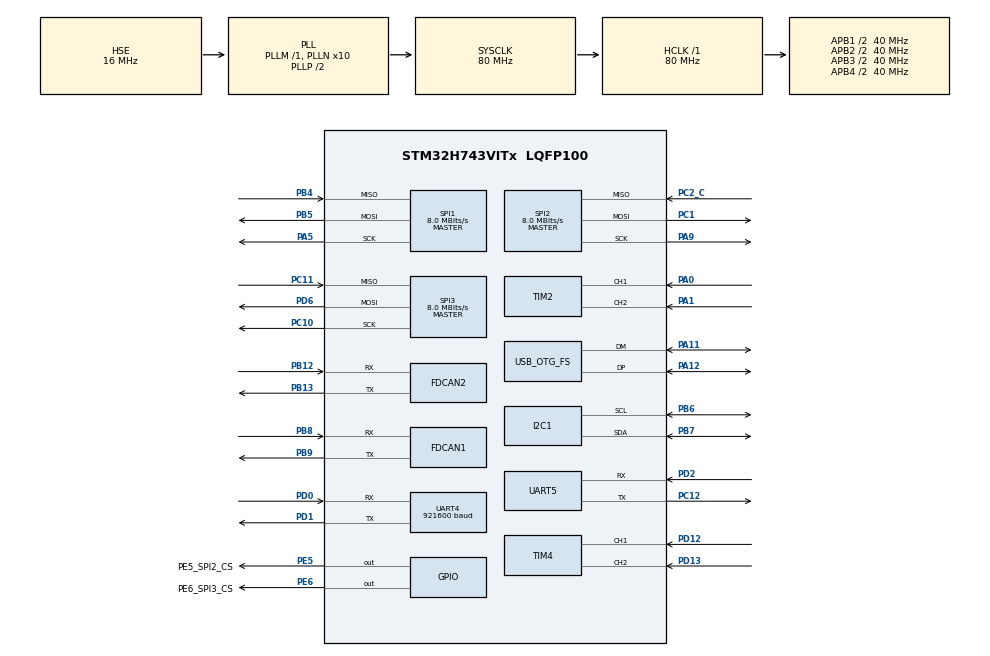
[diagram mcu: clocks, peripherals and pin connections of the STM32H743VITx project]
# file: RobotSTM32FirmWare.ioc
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CORTEX_M7.default_mode_Activation=1
Dma.Request0=SPI3_TX
Dma.Request1=SPI3_RX
Dma.Request2=UART4_TX
Dma.Request3=UART4_RX
Dma.SPI3_RX.1.Direction=DMA_PERIPH_TO_MEMORY
Dma.SPI3_RX.1.EventEnable=DISABLE
Dma.SPI3_RX.1.FIFOMode=DMA_FIFOMODE_DISABLE
Dma.SPI3_RX.1.Instance=DMA1_Stream1
Dma.SPI3_RX.1.MemDataAlignment=DMA_MDATAALIGN_BYTE
Dma.SPI3_RX.1.MemInc=DMA_MINC_ENABLE
Dma.SPI3_RX.1.Mode=DMA_NORMAL
Dma.SPI3_RX.1.PeriphDataAlignment=DMA_PDATAALIGN_BYTE
Dma.SPI3_RX.1.PeriphInc=DMA_PINC_DISABLE
Dma.SPI3_RX.1.Polarity=HAL_DMAMUX_REQ_GEN_RISING
Dma.SPI3_RX.1.Priority=DMA_PRIORITY_LOW
Dma.SPI3_RX.1.RequestNumber=1
Dma.SPI3_RX.1.SignalID=NONE
Dma.SPI3_RX.1.SyncEnable=DISABLE
Dma.SPI3_RX.1.SyncPolarity=HAL_DMAMUX_SYNC_NO_EVENT
Dma.SPI3_RX.1.SyncRequestNumber=1
Dma.SPI3_RX.1.SyncSignalID=NONE
Dma.SPI3_TX.0.Direction=DMA_MEMORY_TO_PERIPH
Dma.SPI3_TX.0.EventEnable=DISABLE
Dma.SPI3_TX.0.FIFOMode=DMA_FIFOMODE_DISABLE
Dma.SPI3_TX.0.Instance=DMA1_Stream0
Dma.SPI3_TX.0.MemDataAlignment=DMA_MDATAALIGN_BYTE
Dma.SPI3_TX.0.MemInc=DMA_MINC_ENABLE
Dma.SPI3_TX.0.Mode=DMA_NORMAL
Dma.SPI3_TX.0.PeriphDataAlignment=DMA_PDATAALIGN_BYTE
Dma.SPI3_TX.0.PeriphInc=DMA_PINC_DISABLE
Dma.SPI3_TX.0.Polarity=HAL_DMAMUX_REQ_GEN_RISING
Dma.SPI3_TX.0.Priority=DMA_PRIORITY_LOW
Dma.SPI3_TX.0.RequestNumber=1
Dma.SPI3_TX.0.SignalID=NONE
Dma.SPI3_TX.0.SyncEnable=DISABLE
Dma.SPI3_TX.0.SyncPolarity=HAL_DMAMUX_SYNC_NO_EVENT
Dma.SPI3_TX.0.SyncRequestNumber=1
Dma.SPI3_TX.0.SyncSignalID=NONE
Dma.UART4_RX.3.Direction=DMA_PERIPH_TO_MEMORY
Dma.UART4_RX.3.EventEnable=DISABLE
Dma.UART4_RX.3.FIFOMode=DMA_FIFOMODE_DISABLE
Dma.UART4_RX.3.Instance=DMA1_Stream3
Dma.UART4_RX.3.MemDataAlignment=DMA_MDATAALIGN_BYTE
Dma.UART4_RX.3.MemInc=DMA_MINC_ENABLE
Dma.UART4_RX.3.Mode=DMA_NORMAL
Dma.UART4_RX.3.PeriphDataAlignment=DMA_PDATAALIGN_BYTE
Dma.UART4_RX.3.PeriphInc=DMA_PINC_DISABLE
Dma.UART4_RX.3.Polarity=HAL_DMAMUX_REQ_GEN_RISING
Dma.UART4_RX.3.Priority=DMA_PRIORITY_LOW
Dma.UART4_RX.3.RequestNumber=1
Dma.UART4_RX.3.SignalID=NONE
Dma.UART4_RX.3.SyncEnable=DISABLE
Dma.UART4_RX.3.SyncPolarity=HAL_DMAMUX_SYNC_NO_EVENT
Dma.UART4_RX.3.SyncRequestNumber=1
Dma.UART4_RX.3.SyncSignalID=NONE
Dma.UART4_TX.2.Direction=DMA_MEMORY_TO_PERIPH
Dma.UART4_TX.2.EventEnable=DISABLE
Dma.UART4_TX.2.FIFOMode=DMA_FIFOMODE_DISABLE
Dma.UART4_TX.2.Instance=DMA1_Stream2
Dma.UART4_TX.2.MemDataAlignment=DMA_MDATAALIGN_BYTE
Dma.UART4_TX.2.MemInc=DMA_MINC_ENABLE
Dma.UART4_TX.2.Mode=DMA_NORMAL
Dma.UART4_TX.2.PeriphDataAlignment=DMA_PDATAALIGN_BYTE
Dma.UART4_TX.2.PeriphInc=DMA_PINC_DISABLE
Dma.UART4_TX.2.Polarity=HAL_DMAMUX_REQ_GEN_RISING
Dma.UART4_TX.2.Priority=DMA_PRIORITY_LOW
Dma.UART4_TX.2.RequestNumber=1
Dma.UART4_TX.2.SignalID=NONE
Dma.UART4_TX.2.SyncEnable=DISABLE
Dma.UART4_TX.2.SyncPolarity=HAL_DMAMUX_SYNC_NO_EVENT
Dma.UART4_TX.2.SyncRequestNumber=1
Dma.UART4_TX.2.SyncSignalID=NONE
FDCAN1.CalculateBaudRateNominal=500000
FDCAN1.CalculateTimeBitNominal=2000
FDCAN1.CalculateTimeQuantumNominal=125.0
FDCAN1.DataPrescaler=2
FDCAN1.NominalPrescaler=5
FDCAN1.NominalSyncJumpWidth=2
FDCAN1.NominalTimeSeg1=13
FDCAN1.NominalTimeSeg2=2
FDCAN2.CalculateBaudRateNominal=500000
FDCAN2.CalculateTimeBitNominal=2000
FDCAN2.CalculateTimeQuantumNominal=125.0
FDCAN2.DataPrescaler=2
FDCAN2.NominalPrescaler=5
FDCAN2.NominalSyncJumpWidth=2
FDCAN2.NominalTimeSeg1=13
FDCAN2.NominalTimeSeg2=2
FDCAN2.RxFifo1ElmtsNbr=32
FREERTOS.Tasks01=defaultTask,24,128,StartDefaultTask,Default,NULL,Dynamic,NULL,NULL
FREERTOS.configTOTAL_HEAP_SIZE=30720
FREERTOS.configUSE_NEWLIB_REENTRANT=1
I2C1.Timing=0x00909BEB
Mcu.Family=STM32H7
Mcu.Name=STM32H743VITx
Mcu.Package=LQFP100
NVIC.DMA1_Stream0_IRQn=true\:5\:0\:false\:false\:true\:true\:false\:true\:true
NVIC.DMA1_Stream1_IRQn=true\:5\:0\:false\:false\:true\:true\:false\:true\:true
NVIC.DMA1_Stream2_IRQn=true\:5\:0\:false\:false\:true\:true\:false\:true\:true
NVIC.DMA1_Stream3_IRQn=true\:5\:0\:false\:false\:true\:true\:false\:true\:true
NVIC.PriorityGroup=NVIC_PRIORITYGROUP_4
NVIC.SPI3_IRQn=true\:5\:0\:false\:false\:true\:true\:false\:true\:true
NVIC.TIM1_UP_IRQn=true\:15\:0\:false\:false\:true\:false\:false\:true\:true
NVIC.TimeBase=TIM1_UP_IRQn
NVIC.TimeBaseIP=TIM1
NVIC.UART4_IRQn=true\:5\:0\:false\:false\:true\:true\:true\:true\:true
PA0.Signal=S_TIM2_CH1_ETR
PA1.Signal=S_TIM2_CH2
PA11.Mode=Device_Only
PA11.Signal=USB_OTG_FS_DM
PA12.Mode=Device_Only
PA12.Signal=USB_OTG_FS_DP
PA13\ (JTMS/SWDIO).Signal=DEBUG_JTMS-SWDIO
PA14\ (JTCK/SWCLK).Signal=DEBUG_JTCK-SWCLK
PA15\ (JTDI).Signal=UART7_TX
PA5.Mode=Full_Duplex_Master
PA5.Signal=SPI1_SCK
PA6.Signal=ADCx_INP3
PA9.Mode=Full_Duplex_Master
PA9.Signal=SPI2_SCK
PB12.Mode=FDCAN_Activate
PB12.Signal=FDCAN2_RX
PB13.Mode=FDCAN_Activate
PB13.Signal=FDCAN2_TX
PB3\ (JTDO/TRACESWO).Signal=DEBUG_JTDO-SWO
PB4\ (NJTRST).Mode=Full_Duplex_Master
PB4\ (NJTRST).Signal=SPI1_MISO
PB5.Mode=Full_Duplex_Master
PB5.Signal=SPI1_MOSI
PB6.Mode=I2C
PB6.Signal=I2C1_SCL
PB7.Mode=I2C
PB7.Signal=I2C1_SDA
PB8.Mode=FDCAN_Activate
PB8.Signal=FDCAN1_RX
PB9.Mode=FDCAN_Activate
PB9.Signal=FDCAN1_TX
PC1.Mode=Full_Duplex_Master
PC1.Signal=SPI2_MOSI
PC10.Mode=Full_Duplex_Master
PC10.Signal=SPI3_SCK
PC11.Mode=Full_Duplex_Master
PC11.Signal=SPI3_MISO
PC12.Mode=Asynchronous
PC12.Signal=UART5_TX
PC2_C.Mode=Full_Duplex_Master
PC2_C.Signal=SPI2_MISO
PD0.Mode=Asynchronous
PD0.Signal=UART4_RX
PD1.Mode=Asynchronous
PD1.Signal=UART4_TX
PD12.Signal=S_TIM4_CH1
PD13.Signal=S_TIM4_CH2
PD2.Mode=Asynchronous
PD2.Signal=UART5_RX
PD6.Mode=Full_Duplex_Master
PD6.Signal=SPI3_MOSI
PE5.GPIO_Label=PE5_SPI2_CS
PE5.Signal=GPIO_Output
PE6.GPIO_Label=PE6_SPI3_CS
PE6.Signal=GPIO_Output
PH0-OSC_IN\ (PH0).Mode=HSE-External-Oscillator
PH0-OSC_IN\ (PH0).Signal=RCC_OSC_IN
PH1-OSC_OUT\ (PH1).Mode=HSE-External-Oscillator
PH1-OSC_OUT\ (PH1).Signal=RCC_OSC_OUT
ProjectManager.HeapSize=0x200
ProjectManager.StackSize=0x400
ProjectManager.TargetToolchain=STM32CubeIDE
RCC.ADCFreq_Value=80000000
RCC.APB1Freq_Value=40000000
RCC.APB2Freq_Value=40000000
RCC.APB3Freq_Value=40000000
RCC.APB4Freq_Value=40000000
RCC.CortexFreq_Value=80000000
RCC.D1PPRE=RCC_APB3_DIV2
RCC.D2PPRE1=RCC_APB1_DIV2
RCC.D2PPRE2=RCC_APB2_DIV2
RCC.D3PPRE=RCC_APB4_DIV2
RCC.DIVM1=1
RCC.DIVM2=1
RCC.DIVN1=10
RCC.DIVN2=10
RCC.DIVQ1=4
RCC.DIVQ2=3
RCC.HCLKFreq_Value=80000000
RCC.HSE_VALUE=16000000
RCC.PLL2FRACN=0
RCC.PLL3FRACN=0
RCC.PLLFRACN=0
RCC.SPI123CLockSelection=RCC_SPI123CLKSOURCE_CLKP
RCC.SYSCLKFreq_VALUE=80000000
RCC.SYSCLKSource=RCC_SYSCLKSOURCE_PLLCLK
RCC.USBFreq_Value=40000000
SH.ADCx_INP3.0=ADC1_INP3
SH.S_TIM2_CH1_ETR.0=TIM2_CH1,Encoder_Interface
SH.S_TIM2_CH2.0=TIM2_CH2,Encoder_Interface
SH.S_TIM4_CH1.0=TIM4_CH1,Encoder_Interface
SH.S_TIM4_CH2.0=TIM4_CH2,Encoder_Interface
SPI1.BaudRatePrescaler=SPI_BAUDRATEPRESCALER_8
SPI1.CalculateBaudRate=8.0 MBits/s
SPI1.DataSize=SPI_DATASIZE_8BIT
SPI1.Direction=SPI_DIRECTION_2LINES
SPI1.Mode=SPI_MODE_MASTER
SPI1.VirtualType=VM_MASTER
SPI2.BaudRatePrescaler=SPI_BAUDRATEPRESCALER_8
SPI2.CalculateBaudRate=8.0 MBits/s
SPI2.Direction=SPI_DIRECTION_2LINES
SPI2.Mode=SPI_MODE_MASTER
SPI2.VirtualType=VM_MASTER
SPI3.BaudRatePrescaler=SPI_BAUDRATEPRESCALER_8
SPI3.CalculateBaudRate=8.0 MBits/s
SPI3.DataSize=SPI_DATASIZE_8BIT
SPI3.Direction=SPI_DIRECTION_2LINES
SPI3.Mode=SPI_MODE_MASTER
SPI3.VirtualType=VM_MASTER
UART4.BaudRate=921600
USB_OTG_FS.VirtualMode=Device_Only
VP_FREERTOS_VS_CMSIS_V2.Mode=CMSIS_V2
VP_MEMORYMAP_VS_MEMORYMAP.Mode=CurAppReg
VP_SYS_VS_tim1.Mode=TIM1
board=custom

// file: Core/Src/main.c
/* USER CODE BEGIN Header */
/**
  ******************************************************************************
  * @file           : main.c
  * @brief          : Main program body
  ******************************************************************************
  * @attention
  *
  * Copyright (c) 2026 STMicroelectronics.
  * All rights reserved.
  *
  * This software is licensed under terms that can be found in the LICENSE file
  * in the root directory of this software component.
  * If no LICENSE file comes with this software, it is provided AS-IS.
  *
  ******************************************************************************
  */
/* USER CODE END Header */
#include "main.h"
#include "cmsis_os.h"
#include "dma.h"
#include "fdcan.h"
#include "i2c.h"
#include "spi.h"
#include "tim.h"
#include "usart.h"
#include "usb_otg.h"
#include "gpio.h"

/* USER CODE BEGIN Includes */
#include "app_config.h"
#include "app_halt.h"
#include "app_ctrl_params.h"
#include "app_freertos_diag.h"
#include "app_telemetry.h"
#include "icm45686.h"
#include "imu_async.h"
#include "imu_spi_async.h"
#include "odrive_can_hal.h"
#include "odrive_torque_mode_startup.h"
/* USER CODE END Includes */

/* USER CODE BEGIN PV */
volatile uint32_t g_halt_magic;
volatile uint32_t g_halt_step;
volatile uint32_t g_halt_startup_error;
volatile uint32_t g_halt_startup_fail_line;
volatile uint32_t g_halt_fdcan_start_fail_step;
volatile uint32_t g_halt_rx_std_frames;
volatile uint32_t g_halt_rx_fifo0_peak;
volatile uint32_t g_halt_last_rx_std_id;
volatile uint32_t g_halt_fdcan_psr;
volatile uint32_t g_halt_fdcan_ecr;
volatile uint32_t g_halt_fdcan_cccr;
volatile uint32_t g_halt_fdcan_rxf0s;
volatile uint32_t g_halt_tx_fail_op;
volatile uint32_t g_halt_tx_fifo_free;
volatile uint32_t g_app_halt_step = APP_HALT_NONE;
static icm45686_t s_main_icm45686_probe;
volatile int32_t g_main_icm45686_probe_status;
volatile uint8_t g_main_icm45686_probe_who_am_i;
volatile uint32_t g_tim1_up_isr_count;
/* USER CODE END PV */

void SystemClock_Config(void);
void PeriphCommonClock_Config(void);
static void MPU_Config(void);
void MX_FREERTOS_Init(void);

/* USER CODE BEGIN 0 */

void app_halt_record(uint32_t step)
{
  g_halt_magic = 0u;
  g_halt_step = step;
  g_halt_startup_error = g_odrive_startup_last_error;
  g_halt_startup_fail_line = g_odrive_startup_fail_line;
  g_halt_fdcan_start_fail_step = g_fdcan_start_fail_step;
  g_halt_rx_std_frames = g_odrive_startup_rx_std_frames;
  g_halt_rx_fifo0_peak = g_odrive_startup_rx_fifo0_peak;
  g_halt_last_rx_std_id = g_odrive_startup_last_rx_std_id;
  g_halt_fdcan_psr = g_odrive_startup_fdcan_psr;
  g_halt_fdcan_ecr = g_odrive_startup_fdcan_ecr;
  g_halt_fdcan_cccr = g_odrive_startup_fdcan_cccr;
  g_halt_fdcan_rxf0s = g_odrive_startup_fdcan_rxf0s;
  g_halt_tx_fail_op = g_odrive_startup_tx_fail_op;
  g_halt_tx_fifo_free = g_odrive_startup_tx_fifo_free;
  g_app_halt_step = step;
  __DSB();
  g_halt_magic = APP_HALT_MAGIC;
}

/* USER CODE END 0 */

int main(void)
{

  /* MPU Configuration--------------------------------------------------------*/
  MPU_Config();

  /* MCU Configuration--------------------------------------------------------*/

  /* Reset of all peripherals, Initializes the Flash interface and the Systick. */
  HAL_Init();

  /* USER CODE BEGIN Init */
  app_freertos_diag_capture_cpuid();
  /* USER CODE END Init */

  /* Configure the system clock */
  SystemClock_Config();

  /* Configure the peripherals common clocks */
  PeriphCommonClock_Config();

  /* Initialize all configured peripherals */
  MX_GPIO_Init();
  MX_DMA_Init();
  MX_FDCAN1_Init();
  MX_SPI1_Init();
  MX_FDCAN2_Init();
  MX_SPI2_Init();
  MX_TIM2_Init();
  MX_TIM4_Init();
  MX_I2C1_Init();
  MX_SPI3_Init();
  MX_UART4_Init();
  MX_UART5_Init();
  MX_USB_OTG_FS_PCD_Init();
  /* USER CODE BEGIN 2 */
  g_main_icm45686_probe_status = icm45686_init_spi(&s_main_icm45686_probe,
                                                   &hspi3,
                                                   PE6_SPI3_CS_GPIO_Port,
                                                   PE6_SPI3_CS_Pin,
                                                   ICM45686_ACCEL_16G,
                                                   ICM45686_GYRO_2000_DPS);
  g_main_icm45686_probe_who_am_i = icm45686_last_who_am_i;
  if (g_main_icm45686_probe_status == 0) {
    imu_async_note_hw_probed_ok(g_main_icm45686_probe_who_am_i);
  }
#if defined(DEBUG_DESK_NO_ODRIVE) || (APP_TELEMETRY_BENCH_MODE != 0)
  /* Bench / telemetry test: skip ODrive boot (see APP_TELEMETRY_BENCH_MODE). */
  volatile uint8_t g_app_odrive_boot_skipped = 1u;
  (void)g_app_odrive_boot_skipped;
#else
  volatile uint8_t g_app_odrive_boot_skipped = 0u;
  (void)g_app_odrive_boot_skipped;
  if (!odrive_can_fdcan_start(&ODRIVE_CAN_LEFT_HANDLE) ||
      !odrive_can_fdcan_start(&ODRIVE_CAN_RIGHT_HANDLE)) {
    app_halt_record(APP_HALT_FDCAN_START);
    Error_Handler();
  }

  /* RX IRQ stays off until odrive_torque_mode_startup() finishes polling heartbeats. */
  if (!odrive_torque_mode_startup(&ODRIVE_CAN_LEFT_HANDLE) ||
      !odrive_torque_mode_startup(&ODRIVE_CAN_RIGHT_HANDLE)) {
    app_halt_record(APP_HALT_ODRIVE_STARTUP);
    Error_Handler();
  }
#endif
  /* USER CODE END 2 */

  /* Init scheduler */
  osKernelInitialize();  /* Call init function for freertos objects (in cmsis_os2.c) */
  MX_FREERTOS_Init();

  /* Start scheduler */
  osKernelStart();

  /* We should never get here as control is now taken by the scheduler */

  /* Infinite loop */
  while (1)
  {

  }
}

void SystemClock_Config(void)
{
  RCC_OscInitTypeDef RCC_OscInitStruct = {0};
  RCC_ClkInitTypeDef RCC_ClkInitStruct = {0};

  /** Supply configuration update enable
  */
  HAL_PWREx_ConfigSupply(PWR_LDO_SUPPLY);

  /** Configure the main internal regulator output voltage
  */
  __HAL_PWR_VOLTAGESCALING_CONFIG(PWR_REGULATOR_VOLTAGE_SCALE3);

  while(!__HAL_PWR_GET_FLAG(PWR_FLAG_VOSRDY)) {}

  /** Initializes the RCC Oscillators according to the specified parameters
  * in the RCC_OscInitTypeDef structure.
  */
  RCC_OscInitStruct.OscillatorType = RCC_OSCILLATORTYPE_HSI|RCC_OSCILLATORTYPE_HSE;
  RCC_OscInitStruct.HSEState = RCC_HSE_ON;
  RCC_OscInitStruct.HSIState = RCC_HSI_DIV1;
  RCC_OscInitStruct.HSICalibrationValue = RCC_HSICALIBRATION_DEFAULT;
  RCC_OscInitStruct.PLL.PLLState = RCC_PLL_ON;
  RCC_OscInitStruct.PLL.PLLSource = RCC_PLLSOURCE_HSE;
  RCC_OscInitStruct.PLL.PLLM = 1;
  RCC_OscInitStruct.PLL.PLLN = 10;
  RCC_OscInitStruct.PLL.PLLP = 2;
  RCC_OscInitStruct.PLL.PLLQ = 4;
  RCC_OscInitStruct.PLL.PLLR = 2;
  RCC_OscInitStruct.PLL.PLLRGE = RCC_PLL1VCIRANGE_3;
  RCC_OscInitStruct.PLL.PLLVCOSEL = RCC_PLL1VCOMEDIUM;
  RCC_OscInitStruct.PLL.PLLFRACN = 0;
  if (HAL_RCC_OscConfig(&RCC_OscInitStruct) != HAL_OK)
  {
    Error_Handler();
  }

  /** Initializes the CPU, AHB and APB buses clocks
  */
  RCC_ClkInitStruct.ClockType = RCC_CLOCKTYPE_HCLK|RCC_CLOCKTYPE_SYSCLK
                              |RCC_CLOCKTYPE_PCLK1|RCC_CLOCKTYPE_PCLK2
                              |RCC_CLOCKTYPE_D3PCLK1|RCC_CLOCKTYPE_D1PCLK1;
  RCC_ClkInitStruct.SYSCLKSource = RCC_SYSCLKSOURCE_PLLCLK;
  RCC_ClkInitStruct.SYSCLKDivider = RCC_SYSCLK_DIV1;
  RCC_ClkInitStruct.AHBCLKDivider = RCC_HCLK_DIV1;
  RCC_ClkInitStruct.APB3CLKDivider = RCC_APB3_DIV2;
  RCC_ClkInitStruct.APB1CLKDivider = RCC_APB1_DIV2;
  RCC_ClkInitStruct.APB2CLKDivider = RCC_APB2_DIV2;
  RCC_ClkInitStruct.APB4CLKDivider = RCC_APB4_DIV2;

  if (HAL_RCC_ClockConfig(&RCC_ClkInitStruct, FLASH_LATENCY_1) != HAL_OK)
  {
    Error_Handler();
  }
}

void PeriphCommonClock_Config(void)
{
  RCC_PeriphCLKInitTypeDef PeriphClkInitStruct = {0};

  /** Initializes the peripherals clock
  */
  PeriphClkInitStruct.PeriphClockSelection = RCC_PERIPHCLK_CKPER;
  PeriphClkInitStruct.CkperClockSelection = RCC_CLKPSOURCE_HSI;
  if (HAL_RCCEx_PeriphCLKConfig(&PeriphClkInitStruct) != HAL_OK)
  {
    Error_Handler();
  }
}

 /* MPU Configuration */

void MPU_Config(void)
{
  MPU_Region_InitTypeDef MPU_InitStruct = {0};

  /* Disables the MPU */
  HAL_MPU_Disable();

  /** Initializes and configures the Region and the memory to be protected
  */
  MPU_InitStruct.Enable = MPU_REGION_ENABLE;
  MPU_InitStruct.Number = MPU_REGION_NUMBER0;
  MPU_InitStruct.BaseAddress = 0x0;
  MPU_InitStruct.Size = MPU_REGION_SIZE_4GB;
  MPU_InitStruct.SubRegionDisable = 0x87;
  MPU_InitStruct.TypeExtField = MPU_TEX_LEVEL0;
  MPU_InitStruct.AccessPermission = MPU_REGION_NO_ACCESS;
  MPU_InitStruct.DisableExec = MPU_INSTRUCTION_ACCESS_DISABLE;
  MPU_InitStruct.IsShareable = MPU_ACCESS_SHAREABLE;
  MPU_InitStruct.IsCacheable = MPU_ACCESS_NOT_CACHEABLE;
  MPU_InitStruct.IsBufferable = MPU_ACCESS_NOT_BUFFERABLE;

  HAL_MPU_ConfigRegion(&MPU_InitStruct);
  /* Enables the MPU */
  HAL_MPU_Enable(MPU_PRIVILEGED_DEFAULT);

}

void HAL_TIM_PeriodElapsedCallback(TIM_HandleTypeDef *htim)
{
  if (htim->Instance == TIM1)
  {
    HAL_IncTick();
  }
}

void Error_Handler(void)
{
  /* USER CODE BEGIN Error_Handler_Debug */
  if (g_halt_magic != APP_HALT_MAGIC) {
    uint32_t step = g_app_halt_step;
    if (step == APP_HALT_NONE) {
      step = APP_HALT_UNKNOWN;
    }
    app_halt_record(step);
  }
  __disable_irq();
  while (1) {
    __NOP();
  }
  /* USER CODE END Error_Handler_Debug */
}

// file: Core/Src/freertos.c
/* USER CODE BEGIN Header */
/**
  ******************************************************************************
  * File Name          : freertos.c
  * Description        : Code for freertos applications
  ******************************************************************************
  * @attention
  *
  * Copyright (c) 2026 STMicroelectronics.
  * All rights reserved.
  *
  * This software is licensed under terms that can be found in the LICENSE file
  * in the root directory of this software component.
  * If no LICENSE file comes with this software, it is provided AS-IS.
  *
  ******************************************************************************
  */
/* USER CODE END Header */

#include "FreeRTOS.h"
#include "task.h"
#include "main.h"
#include "cmsis_os.h"

/* USER CODE BEGIN Includes */
#include "app_drivers.h"
#include "app_freertos_diag.h"
#include "app_tasks.h"
/* USER CODE END Includes */

/* USER CODE BEGIN Variables */
/* OpenOCD FreeRTOS awareness: uxTopUsedPriority was removed in FreeRTOS v10. */
volatile UBaseType_t uxTopUsedPriority __attribute__((used)) = configMAX_PRIORITIES - 1U;
/* USER CODE END Variables */
/* Definitions for defaultTask */
osThreadId_t defaultTaskHandle;
const osThreadAttr_t defaultTask_attributes = {
  .name = "defaultTask",
  .stack_size = 128 * 4,
  .priority = (osPriority_t) osPriorityNormal,
};

void StartDefaultTask(void *argument);

void MX_FREERTOS_Init(void); /* (MISRA C 2004 rule 8.1) */

void MX_FREERTOS_Init(void) {
  /* USER CODE BEGIN Init */
  (void)uxTopUsedPriority;
  /* USER CODE END Init */

  /* Create the thread(s) */
  /* creation of defaultTask */
  defaultTaskHandle = osThreadNew(StartDefaultTask, NULL, &defaultTask_attributes);

  /* USER CODE BEGIN RTOS_THREADS */
  if (!app_drivers_rtos_init()) {
    Error_Handler();
  }
  app_tasks_create();
  /* USER CODE END RTOS_THREADS */

}

void StartDefaultTask(void *argument)
{
  /* USER CODE BEGIN StartDefaultTask */
  app_drivers_irq_enable();
  for (;;)
  {
    app_freertos_diag_default_task_heartbeat();
    osDelay(1);
  }
  /* USER CODE END StartDefaultTask */
}
